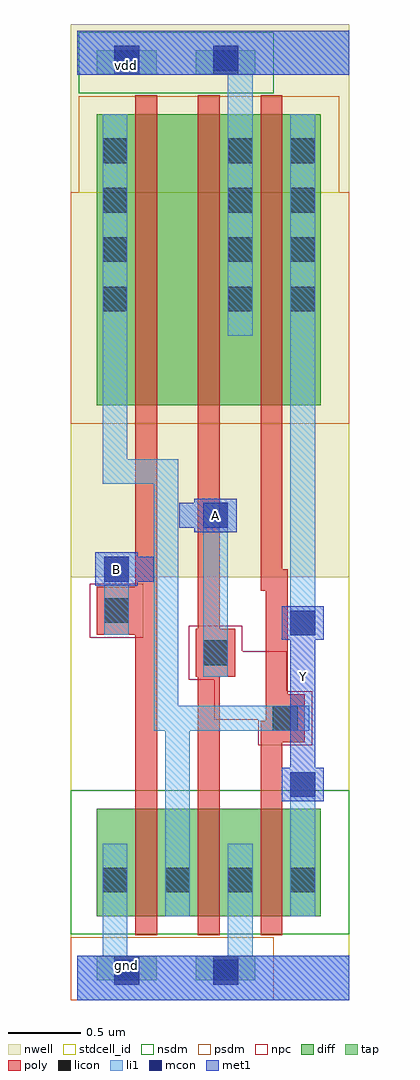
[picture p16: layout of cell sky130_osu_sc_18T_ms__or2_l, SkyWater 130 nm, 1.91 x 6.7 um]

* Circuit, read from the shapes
.subckt sky130_osu_sc_18T_ms__or2_l A B Y gnd vdd
XM1 n1 B gnd gnd sky130_fd_pr__nfet_01v8 w=0.74 l=0.15
XM2 gnd A n1 gnd sky130_fd_pr__nfet_01v8 w=0.74 l=0.15
XM3 Y n1 gnd gnd sky130_fd_pr__nfet_01v8 w=0.74 l=0.15
XM4 n2 B n1 vdd sky130_fd_pr__pfet_01v8 w=2 l=0.15
XM5 vdd A n2 vdd sky130_fd_pr__pfet_01v8 w=2 l=0.15
XM6 Y n1 vdd vdd sky130_fd_pr__pfet_01v8 w=2 l=0.15
.ends

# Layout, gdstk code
import gdstk
lib = gdstk.Library(unit=1e-6, precision=1e-09)
def R(c, l, rs):  # rectangles x0, y0, x1, y1
    for r in rs: c.add(gdstk.rectangle(r[:2], r[2:], *l))
def A(c, l, x, y, w, h, nx, ny, dx, dy):  # array of equal rectangles
    R(c, l, [(x+i*dx, y+j*dy, x+i*dx+w, y+j*dy+h) for i in range(nx) for j in range(ny)])
nwell = (64, 20)
diff = (65, 20)
tap = (65, 44)
poly = (66, 20)
licon = (66, 44)
li1 = (67, 20)
mcon = (67, 44)
met1 = (68, 20)
stdcell_id = (81, 4)
nsdm = (93, 44)
psdm = (94, 20)
npc = (95, 20)

sky130_osu_sc_18t_ms__or = lib.new_cell('sky130_osu_sc_18T_ms__or2_l')
R(sky130_osu_sc_18t_ms__or, nwell, [(-0.045,2.905,1.87,6.705)])
R(sky130_osu_sc_18t_ms__or, diff, [(0.135,0.575,1.675,1.315), (0.135,4.085,1.675,6.085)])
R(sky130_osu_sc_18t_ms__or, tap, [(0.135,0.135,0.545,0.305), (0.815,0.135,1.225,0.305), (0.135,6.355,0.545,6.525), (0.815,6.355,1.225,6.525)])
R(sky130_osu_sc_18t_ms__or, poly, [(0.4,0.445,0.55,2.51), (0.83,0.445,0.98,2.22), (1.26,0.445,1.41,1.77), (1.26,1.77,1.565,1.92), (1.295,1.92,1.565,2.1), (1.295,2.1,1.445,2.81), (0.815,2.22,1.085,2.55), (0.135,2.51,0.55,2.84), (0.83,2.55,0.98,6.215), (1.26,2.81,1.445,2.96), (0.4,2.84,0.55,6.215), (1.26,2.96,1.41,6.215)])
A(sky130_osu_sc_18t_ms__or, licon, 0.175, 0.74, 0.17, 0.17, 4, 1, 0.43, 0)
A(sky130_osu_sc_18t_ms__or, licon, 0.175, 4.73, 0.17, 0.17, 1, 4, 0, 0.34)
A(sky130_osu_sc_18t_ms__or, licon, 1.035, 4.73, 0.17, 0.17, 1, 4, 0, 0.34)
A(sky130_osu_sc_18t_ms__or, licon, 1.465, 4.73, 0.17, 0.17, 1, 4, 0, 0.34)
R(sky130_osu_sc_18t_ms__or, licon, [(0.255,0.135,0.425,0.305), (0.935,0.135,1.105,0.305), (1.345,1.85,1.515,2.02), (0.865,2.3,1.035,2.47), (0.185,2.59,0.355,2.76), (0.255,6.355,0.425,6.525), (0.935,6.355,1.105,6.525)])
R(sky130_osu_sc_18t_ms__or, li1, [(0,0,1.87,0.305), (0.175,0.305,0.345,1.075), (1.035,0.305,1.205,1.075), (0.605,0.575,0.775,1.85), (1.465,0.575,1.635,1.565), (0.525,1.85,1.595,2.02), (0.525,2.02,0.695,3.545), (0.865,2.22,1.035,3.415), (1.465,2.505,1.635,6.085), (0.185,2.51,0.355,3.045), (0.175,3.545,0.695,3.715), (0.175,3.715,0.345,6.085), (1.035,4.565,1.205,6.355), (0,6.355,1.87,6.66)])
R(sky130_osu_sc_18t_ms__or, mcon, [(0.255,0.105,0.425,0.275), (0.935,0.105,1.105,0.275), (1.465,1.395,1.635,1.565), (1.465,2.505,1.635,2.675), (0.185,2.875,0.355,3.045), (0.865,3.245,1.035,3.415), (0.255,6.385,0.425,6.555), (0.935,6.385,1.105,6.555)])
R(sky130_osu_sc_18t_ms__or, met1, [(0,0,1.87,0.305), (1.405,1.365,1.695,1.595), (1.465,1.595,1.635,2.475), (1.405,2.475,1.695,2.705), (0.125,2.845,0.415,2.875), (0.125,2.875,0.525,3.045), (0.125,3.045,0.415,3.075), (0.805,3.215,1.095,3.245), (0.7,3.245,1.095,3.415), (0.805,3.415,1.095,3.445), (0,6.355,1.87,6.66)])
R(sky130_osu_sc_18t_ms__or, stdcell_id, [(-0.045,0,1.87,5.55)])
R(sky130_osu_sc_18t_ms__or, nsdm, [(-0.045,0.45,1.87,1.44), (0.01,6.23,1.35,6.65)])
R(sky130_osu_sc_18t_ms__or, psdm, [(-0.045,0,1.35,0.43), (-0.045,3.96,1.87,5.55), (0.01,5.55,1.8,6.21)])
R(sky130_osu_sc_18t_ms__or, npc, [(1.245,1.75,1.615,1.925), (0.94,1.925,1.615,2.12), (0.94,2.12,1.44,2.2), (0.765,2.2,1.44,2.395), (0.765,2.395,1.135,2.57), (0.085,2.49,0.455,2.86)])
sky130_osu_sc_18t_ms__or.add(gdstk.Label('gnd', (0.34,0.24), layer=68, texttype=16))
sky130_osu_sc_18t_ms__or.add(gdstk.Label('vdd', (0.34,6.42), layer=68, texttype=16))
sky130_osu_sc_18t_ms__or.add(gdstk.Label('Y', (1.555,2.22), layer=68, texttype=5))
sky130_osu_sc_18t_ms__or.add(gdstk.Label('B', (0.27,2.96), layer=68, texttype=5))
sky130_osu_sc_18t_ms__or.add(gdstk.Label('A', (0.95,3.33), layer=68, texttype=5))

lib.write_gds('sky130_osu_sc_18T_ms__or2_l.gds')
